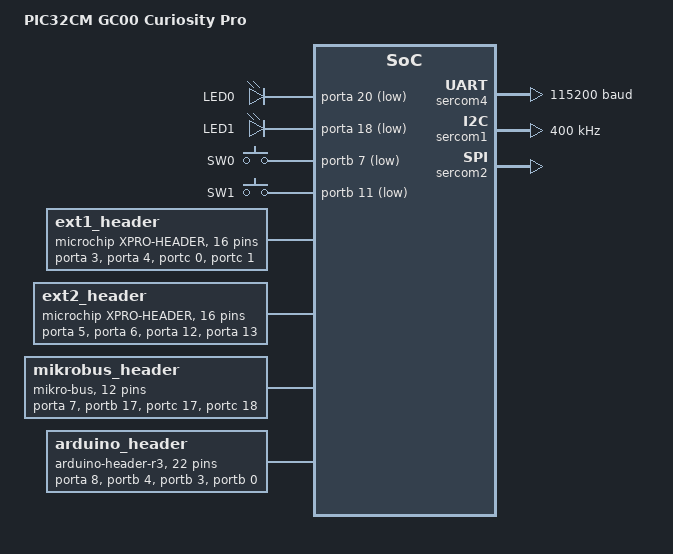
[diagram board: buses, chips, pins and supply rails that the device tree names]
/*
 * Copyright (c) 2026 Microchip Technology Inc.
 *
 * SPDX-License-Identifier: Apache-2.0
 */

/dts-v1/;
#include <microchip/pic32c/pic32cm_sg_gc/pic32cm_gc00/pic32cm5112gc00100.dtsi>
#include "pic32cm_gc00_cpro-pinctrl.dtsi"
#include <zephyr/dt-bindings/i2c/i2c.h>
#include <zephyr/dt-bindings/input/input-event-codes.h>

/ {
	model = "PIC32CM GC00 Curiosity Pro";
	compatible = "microchip,pic32cm_gc00_cpro";

	chosen {
		zephyr,sram = &sram0;
		zephyr,flash = &flash0;
		zephyr,flash-controller = &nvmctrl;
		zephyr,code-partition = &slot0_partition;
		zephyr,console = &sercom4;
		zephyr,shell-uart = &sercom4;
	};

	aliases {
		led0 = &led0;
		led1 = &led1;
		sw0 = &button0;
		sw1 = &button1;
	};

	leds {
		compatible = "gpio-leds";

		led0: led_0 {
			gpios = <&porta 20 GPIO_ACTIVE_LOW>;
			label = "LED0";
		};

		led1: led_1 {
			gpios = <&porta 18 GPIO_ACTIVE_LOW>;
			label = "LED1";
		};
	};

	buttons {
		compatible = "gpio-keys";

		button0: button_0 {
			gpios = <&portb 7 (GPIO_PULL_UP | GPIO_ACTIVE_LOW)>;
			label = "SW0";
			zephyr,code = <INPUT_KEY_0>;
		};

		button1: button_1 {
			gpios = <&portb 11 (GPIO_PULL_UP | GPIO_ACTIVE_LOW)>;
			label = "SW1";
			zephyr,code = <INPUT_KEY_1>;
		};
	};

	ext1_header: xplained-pro-connector1 {
		compatible = "microchip,xpro-header";
		#gpio-cells = <2>;
		gpio-map-mask = <0xffffffff 0xffffffc0>;
		gpio-map-pass-thru = <0 0x3f>;

		/* dts-format off */
					       /*                      Shared */
		gpio-map = <0  0 &porta  3 0>, /* ADC(+)                      */
			   <1  0 &porta  4 0>, /* ADC(-)                      */
			   <2  0 &portc  0 0>, /* GPIO1                       */
			   <3  0 &portc  1 0>, /* GPIO2                       */
			   <4  0 &porta  1 0>, /* PWM(+)                 EXT2 */
			   <5  0 &porta  2 0>, /* PWM(-)                 EXT2 */
			   <6  0 &porta  0 0>, /* IRQ/GPIO                    */
			   <7  0 &portc  9 0>, /* SS/GPIO                     */
			   <8  0 &portd  1 0>, /* SERCOM1 PAD[0] I2C SDA EXTx */
			   <9  0 &portd  0 0>, /* SERCOM1 PAD[1] I2C SCL EXTx */
			   <10 0 &portb 16 0>, /* SERCOM0 PAD[1] UART RX EXT2 */
			   <11 0 &portb 15 0>, /* SERCOM0 PAD[0] UART TX EXT2 */
			   <12 0 &portc 10 0>, /* SPI SS                      */
			   <13 0 &porta 16 0>, /* SERCOM5 PAD[0] SPI MOSI EXTx*/
			   <14 0 &porta 15 0>, /* SERCOM5 PAD[3] SPI MISO EXTx*/
			   <15 0 &porta 17 0>; /* SERCOM5 PAD[1] SPI SCK  EXTx*/
					       /* GND                         */
					       /* +3.3V                       */
		/* dts-format on */
	};

	ext2_header: xplained-pro-connector2 {
		compatible = "microchip,xpro-header";
		#gpio-cells = <2>;
		gpio-map-mask = <0xffffffff 0xffffffc0>;
		gpio-map-pass-thru = <0 0x3f>;

		/* dts-format off */
					       /*                      Shared */
		gpio-map = <0  0 &porta  5 0>, /* ADC(+)              Arduino */
			   <1  0 &porta  6 0>, /* ADC(-)                      */
			   <2  0 &porta 12 0>, /* GPIO1                       */
			   <3  0 &porta 13 0>, /* GPIO2                       */
			   <4  0 &porta  1 0>, /* PWM(+)                 EXT1 */
			   <5  0 &porta  2 0>, /* PWM(-)                 EXT1 */
			   <6  0 &portd  8 0>, /* IRQ/GPIO                    */
			   <7  0 &portd  9 0>, /* SS/GPIO                     */
			   <8  0 &portd  1 0>, /* SERCOM1 PAD[0] I2C SDA EXTx */
			   <9  0 &portd  0 0>, /* SERCOM1 PAD[1] I2C SCL EXTx */
			   <10 0 &portb 16 0>, /* SERCOM0 PAD[1] UART RX EXT1 */
			   <11 0 &portb 15 0>, /* SERCOM0 PAD[0] UART TX EXT1 */
			   <12 0 &porta 14 0>, /* SPI SS                      */
			   <13 0 &porta 16 0>, /* SERCOM5 PAD[0] SPI MOSI EXTx*/
			   <14 0 &porta 15 0>, /* SERCOM5 PAD[3] SPI MISO EXTx*/
			   <15 0 &porta 17 0>; /* SERCOM5 PAD[1] SPI SCK  EXTx*/
					       /* GND                         */
					       /* +3.3V                       */
		/* dts-format on */
	};

	mikrobus_header: mikrobus-connector {
		compatible = "mikro-bus";
		#gpio-cells = <2>;
		gpio-map-mask = <0xffffffff 0xffffffc0>;
		gpio-map-pass-thru = <0 0x3f>;

		/* dts-format off */
					       /*                      Shared */
		gpio-map = <0  0 &porta  7 0>, /* AN                          */
			   <1  0 &portb 17 0>, /* RST                         */
			   <2  0 &portc 17 0>, /* CS                          */
			   <3  0 &portc 18 0>, /* SCK                         */
			   <4  0 &portc 16 0>, /* MISO                        */
			   <5  0 &portc 19 0>, /* MOSI                        */
			   <6  0 &portc  2 0>, /* PWM                         */
			   <7  0 &portc  3 0>, /* INT                         */
			   <8  0 &portd 15 0>, /* RX                          */
			   <9  0 &portd 16 0>, /* TX                          */
			   <10 0 &portd  0 0>, /* SERCOM1 PAD[1] I2C SCL EXTx */
			   <11 0 &portd  1 0>; /* SERCOM1 PAD[0] I2C SDA EXTx */
		/* dts-format on */
	};

	arduino_header: arduino-connector {
		compatible = "arduino-header-r3";
		#gpio-cells = <2>;
		gpio-map-mask = <0xffffffff 0xffffffc0>;
		gpio-map-pass-thru = <0 0x3f>;

		/* dts-format off */
					       /*                      Shared */
		gpio-map = <0  0 &porta  8 0>, /* A0                          */
			   <1  0 &portb  4 0>, /* A1                          */
			   <2  0 &portb  3 0>, /* A2                          */
			   <3  0 &portb  0 0>, /* A3                          */
			   <4  0 &porta  5 0>, /* A4                     EXT2 */
			   <5  0 &portb  5 0>, /* A5                          */
			   <6  0 &portb 15 0>, /* D0                     EXTx */
			   <7  0 &portb 16 0>, /* D1                     EXTx */
			   <8  0 &portc 11 0>, /* D2                          */
			   <9  0 &portb 13 0>, /* D3  TCC3/WO[0]              */
			   <10 0 &portc 13 0>, /* D4                          */
			   <11 0 &portb 12 0>, /* D5                          */
			   <12 0 &portb 14 0>, /* D6  TCC3/WO[1]              */
			   <13 0 &portc 12 0>, /* D7                          */
			   <14 0 &portd 14 0>, /* D8                          */
			   <15 0 &portd  7 0>, /* D9                          */
			   <16 0 &porta 19 0>, /* D10 SPI SS                  */
			   <17 0 &porta 16 0>, /* D11 SPI MOSI           EXTx */
			   <18 0 &porta 15 0>, /* D12 SPI MISO           EXTx */
			   <19 0 &porta 17 0>, /* D13 SPI SCK            EXTx */
			   <20 0 &portd  1 0>, /* D14 I2C SDA            EXTx */
			   <21 0 &portd  0 0>; /* D15 I2C SCL            EXTx */
		/* dts-format on */
	};
};

&flash0 {
	partitions {
		#address-cells = <1>;
		#size-cells = <1>;
		ranges;

		/*
		 * MCUboot partition layout for PIC32CM GC00 (16 KB BFM, 512 KB PFM):
		 *
		 * Offsets relative to flash0 base (0x08000000):
		 *
		 *   boot:    0x0000000 - 0x0003FFF  (16 KB)  - MCUboot in BFM
		 *   [gap]:   0x0004000 - 0x3FFFFFF  (unimplemented)
		 *   slot0:   0x4000000 - 0x403BFFF  (240 KB) - primary image in PFM
		 *   slot1:   0x403C000 - 0x4077FFF  (240 KB) - upgrade image in PFM
		 *   storage: 0x4078000 - 0x407FFFF  (32 KB)  - scratch / NV storage
		 */

		/* 16 KB for MCUboot in BFM */
		boot_partition: partition@0 {
			label = "mcuboot";
			compatible = "zephyr,mapped-partition";
			reg = <0x0 DT_SIZE_K(16)>;
		};

		/* 240 KB for slot0 (primary image) in PFM */
		slot0_partition: partition@4000000 {
			label = "image-0";
			compatible = "zephyr,mapped-partition";
			reg = <0x4000000 DT_SIZE_K(240)>;
		};

		/* 240 KB for slot1 (upgrade image) in PFM */
		slot1_partition: partition@403c000 {
			label = "image-1";
			compatible = "zephyr,mapped-partition";
			reg = <0x403c000 DT_SIZE_K(240)>;
		};

		/* 32 KB for storage partition in PFM */
		storage_partition: partition@4078000 {
			label = "storage";
			compatible = "zephyr,mapped-partition";
			reg = <0x4078000 DT_SIZE_K(32)>;
		};
	};
};

&cpu0 {
	clock-frequency = <72000000>;
};

&clock {
	compatible = "microchip,pic32cm-sg-gc-clock";

	xosc: xosc {
		compatible = "microchip,pic32cm-sg-gc-xosc";
		xosc-frequency = <12000000>;
		xosc-en = <1>;
		xosc-xtal-en = <1>;
	};

	dfll48m: dfll48m {
		compatible = "microchip,pic32cm-sg-gc-dfll48m";
		dfll48m-closed-loop-en = <1>;
		dfll48m-multiply-factor = <4>;
		dfll48m-src-gclk = "gclk0";
		dfll48m-en = <1>;
	};

	dpll0: dpll0 {
		compatible = "microchip,pic32cm-sg-gc-dpll";
		dpll-bandwidth-sel = "4mhz-10mhz";
		dpll-ref-division-factor = <2>;
		dpll-feedback-divider-factor = <144>;
		dpll-src = "xosc";
		dpll-en = <1>;

		dpll0out0: dpll0out0 {
			subsystem = <CLOCK_MCHP_DPLL0_ID_OUT0>;
			dpll-output-division-factor = <6>;
			dpll-output-en = <1>;
		};
	};

	xosc32k: xosc32k {
		compatible = "microchip,pic32cm-sg-gc-xosc32k";
		xosc32k-xtal-en = <1>;
		xosc32k-control-gain-mode = "higher-than-cgm7";
		xosc32k-en = <1>;
	};

	gclkgen: gclkgen {
		compatible = "microchip,pic32cm-sg-gc-gclkgen";

		gclkgen0 {
			subsystem = <CLOCK_MCHP_GCLKGEN_ID_GEN0>;
			gclkgen-div-factor = <2>;
			gclkgen-run-in-standby-en = <1>;
			gclkgen-src = "pll0-clkout0";
			gclkgen-en = <1>;
		};
	};

	gclkperiph: gclkperiph {
		compatible = "microchip,pic32cm-sg-gc-gclkperiph";
		#clock-cells = <1>;

		sercom1 {
			subsystem = <CLOCK_MCHP_GCLKPERIPH_ID_SERCOM1_CORE>;
			gclkperiph-src = "gclk0";
			gclkperiph-en = <1>;
		};
	};

	mclkdomain: mclkdomain {
		compatible = "microchip,pic32cm-sg-gc-mclkdomain";

		mclkcpu {
			subsystem = <CLOCK_MCHP_MCLKDOMAIN_ID_CPU>;
			mclk-div = <1>;
		};
	};

	mclkperiph: mclkperiph {
		compatible = "microchip,pic32cm-sg-gc-mclkperiph";
		#clock-cells = <1>;

		sercom1 {
			subsystem = <CLOCK_MCHP_MCLKPERIPH_ID_SERCOM1>;
			mclk-en = <1>;
		};
	};
};

&porta {
	status = "okay";
};

&portb {
	status = "okay";
};

&sercom4 {
	compatible = "microchip,sercom-g1-uart";
	#address-cells = <1>;
	#size-cells = <0>;
	current-speed = <115200>;
	data-bits = <8>;
	parity = "none";
	stop-bits = "1";
	rxpo = <1>;
	txpo = <0>;
	pinctrl-0 = <&sercom4_uart_default>;
	pinctrl-names = "default";
	dmas = <&dmac 0 24>, <&dmac 1 25>;
	dma-names = "rx", "tx";
	status = "okay";
};

&dmac {
	status = "okay";
};

i2c0: &sercom1 {
	compatible = "microchip,sercom-g1-i2c";
	#address-cells = <1>;
	#size-cells = <0>;
	clock-frequency = <I2C_BITRATE_FAST>;
	pinctrl-0 = <&sercom1_i2c_default>;
	pinctrl-names = "default";
	dmas = <&dmac 2 6>, <&dmac 3 7>;
	dma-names = "rx", "tx";
	status = "okay";
};

&portc {
	status = "okay";
};

&sercom2 {
	compatible = "microchip,sercom-g1-spi";
	dipo = <3>;
	dopo = <0>;
	#address-cells = <1>;
	#size-cells = <0>;
	pinctrl-0 = <&sercom2_spi_default>;
	pinctrl-names = "default";
	cs-gpios = <&portc 17 GPIO_ACTIVE_LOW>;
	dmas = <&dmac 2 8>, <&dmac 3 9>;
	dma-names = "rx", "tx";
	status = "okay";
};

&portd {
	status = "okay";
};
